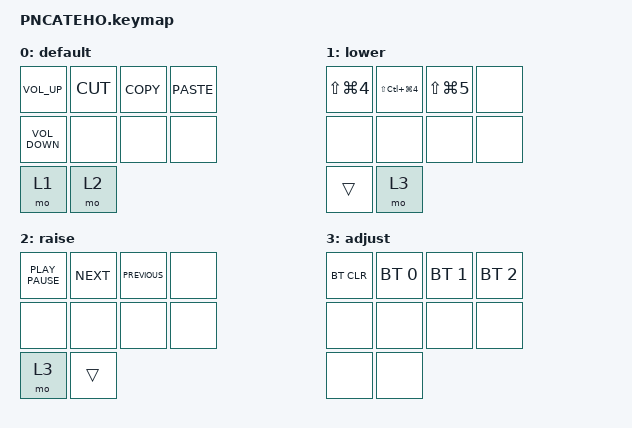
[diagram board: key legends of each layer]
/*
 * Copyright (c) 2020 The ZMK Contributors
 *
 * SPDX-License-Identifier: MIT
 */

#include <behaviors.dtsi>
#include <dt-bindings/zmk/keys.h>
#include <dt-bindings/zmk/bt.h>
#include <dt-bindings/zmk/outputs.h>

#define DEF 0
#define LWR 1
#define RSE 2
#define ADJ 3

&lt {quick_tap_ms = <200>; };
&mt {quick_tap_ms = <200>; };

/ {
    keymap {
        compatible = "zmk,keymap";

        default {
            bindings = <
            &kp K_VOLUME_UP   &kp K_CUT &kp K_COPY &kp K_PASTE
            &kp K_VOLUME_DOWN &none     &none      &none
            &mo 1 &mo 2
            >;
        };
        
        lower {
            bindings = <
            &kp LS(LG(N4))  &kp LS(LC(LG(N4)))  &kp LS(LG(N5)) &none
            &none           &none               &none          &none 
                                                               &trans &mo 3
            >;
        };
        raise {
            bindings = <
            &kp K_PLAY_PAUSE &kp K_NEXT &kp K_PREVIOUS &none
            &none            &none      &none          &none 
                                                       &mo 3 &trans
            >;
        };
        adjust {
            bindings = <
              &bt BT_CLR  &bt BT_SEL 0  &bt BT_SEL 1  &bt BT_SEL 2
              &none       &none         &none         &none 
                                                      &none &none 
            >;
        };
    };
};
